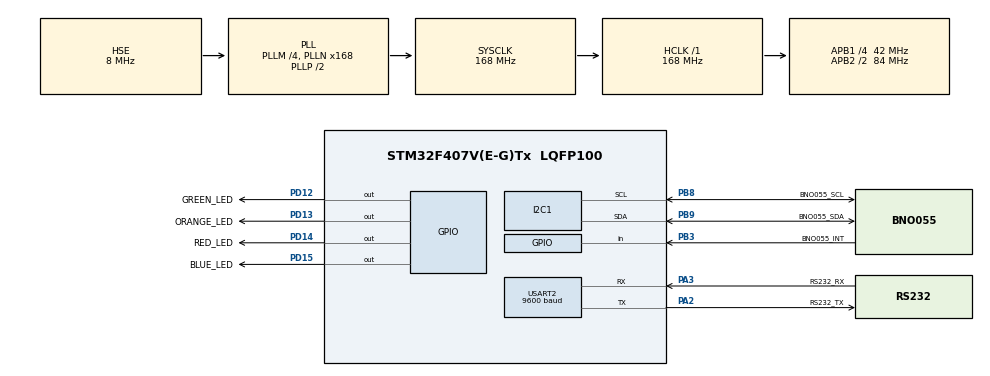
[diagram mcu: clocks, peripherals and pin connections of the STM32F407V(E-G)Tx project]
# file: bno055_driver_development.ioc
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I2C1.I2C_Mode=I2C_Fast
Mcu.Family=STM32F4
Mcu.Name=STM32F407V(E-G)Tx
Mcu.Package=LQFP100
NVIC.PriorityGroup=NVIC_PRIORITYGROUP_4
PA2.GPIO_Label=RS232_TX
PA2.Mode=Asynchronous
PA2.Signal=USART2_TX
PA3.GPIO_Label=RS232_RX
PA3.Mode=Asynchronous
PA3.Signal=USART2_RX
PB3.GPIO_Label=BNO055_INT
PB3.Signal=GPIO_Input
PB8.GPIO_Label=BNO055_SCL
PB8.Mode=I2C
PB8.Signal=I2C1_SCL
PB9.GPIO_Label=BNO055_SDA
PB9.Mode=I2C
PB9.Signal=I2C1_SDA
PD12.GPIO_Label=GREEN_LED
PD12.Signal=GPIO_Output
PD13.GPIO_Label=ORANGE_LED
PD13.Signal=GPIO_Output
PD14.GPIO_Label=RED_LED
PD14.Signal=GPIO_Output
PD15.GPIO_Label=BLUE_LED
PD15.Signal=GPIO_Output
PH0-OSC_IN.GPIO_Label=OSC_IN
PH0-OSC_IN.Mode=HSE-External-Oscillator
PH0-OSC_IN.Signal=RCC_OSC_IN
PH1-OSC_OUT.GPIO_Label=OSC_OUT
PH1-OSC_OUT.Mode=HSE-External-Oscillator
PH1-OSC_OUT.Signal=RCC_OSC_OUT
ProjectManager.HeapSize=0x200
ProjectManager.StackSize=0x400
ProjectManager.TargetToolchain=STM32CubeIDE
RCC.48MHZClocksFreq_Value=84000000
RCC.AHBFreq_Value=168000000
RCC.APB1CLKDivider=RCC_HCLK_DIV4
RCC.APB1Freq_Value=42000000
RCC.APB1TimFreq_Value=84000000
RCC.APB2CLKDivider=RCC_HCLK_DIV2
RCC.APB2Freq_Value=84000000
RCC.APB2TimFreq_Value=168000000
RCC.CortexFreq_Value=168000000
RCC.EnbaleCSS=true
RCC.HCLKFreq_Value=168000000
RCC.HSE_VALUE=8000000
RCC.HSI_VALUE=16000000
RCC.LSE_VALUE=32768
RCC.PLLM=4
RCC.PLLN=168
RCC.PLLSourceVirtual=RCC_PLLSOURCE_HSE
RCC.SYSCLKFreq_VALUE=168000000
RCC.SYSCLKSource=RCC_SYSCLKSOURCE_PLLCLK
RCC.VCOOutputFreq_Value=336000000
USART2.BaudRate=9600
USART2.VirtualMode=VM_ASYNC
board=custom

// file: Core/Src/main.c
/* USER CODE BEGIN Header */
/**
  ******************************************************************************
  * @file           : main.c
  * @brief          : Main program body
  ******************************************************************************
  * @attention
  *
  * Copyright (c) 2024 STMicroelectronics.
  * All rights reserved.
  *
  * This software is licensed under terms that can be found in the LICENSE file
  * in the root directory of this software component.
  * If no LICENSE file comes with this software, it is provided AS-IS.
  *
  ******************************************************************************
  */
/* USER CODE END Header */
#include "main.h"

I2C_HandleTypeDef hi2c1;

UART_HandleTypeDef huart2;

/* USER CODE BEGIN PV */

bno055_init_t BNO055={0};
ACC_TypeDef_T ACC={0};
GYR_TypeDef_T GYR={0};
MAG_TypeDef_T MAG={0};
EUL_TypeDef_T EUL={0};
QUA_TypeDef_T QUA={0};
LIN_TypeDef_T LIN={0};
GRV_TypeDef_T GRV={0};
BNO055_CalibStatus_TypeDef_t status={0};

/* USER CODE END PV */

void SystemClock_Config(void);
static void MX_GPIO_Init(void);
static void MX_I2C1_Init(void);
static void MX_USART2_UART_Init(void);

int main(void)
{

  /* MCU Configuration--------------------------------------------------------*/

  /* Reset of all peripherals, Initializes the Flash interface and the Systick. */
  HAL_Init();

  /* Configure the system clock */
  SystemClock_Config();

  /* Initialize all configured peripherals */
  MX_GPIO_Init();
  MX_I2C1_Init();
  MX_USART2_UART_Init();
  /* USER CODE BEGIN 2 */

  //Self-Test
  bno055_self_test();

  //Config
  BNO055.power_mode = BNO055_PWR_MODE_NORMAL;
  BNO055.operating_mode = BNO055_OPR_MODE_IMU;

  BNO055.acc_config.bandwith = BNO055_ACC_BW_1000_HZ;
  BNO055.acc_config.g_range = BNO055_ACC_16G;
  BNO055.acc_config.opr_mode = BNO055_ACC_OPR_NORMAL;

  BNO055.mag_config.data_output_rate = BNO055_MAG_DOR_20;
  BNO055.mag_config.opr_mode = BNO055_MAG_OPR_HIGH_ACCURACY;
  BNO055.mag_config.power_mode = BNO055_MAG_PWR_NORMAL;

  BNO055.gyr_config.bandwith = BNO055_GYR_BW_230;
  BNO055.gyr_config.opr_mode = BNO055_GYR_OPR_NORMAL;
  BNO055.gyr_config.range = BNO055_GYR_2000_DPS;

  BNO055.axis_map_config = BNO055_AXIS_MAP_P2;
  BNO055.axis_sign_config = BNO055_AXIS_SIGN_P2;

  BNO055.unit_config = BNO055_UNIT_ACC_M_S_2 | BNO055_UNIT_EUL_DEGREES \
		  	  	  	   | BNO055_UNIT_GYR_DPS | BNO055_UNIT_ORIENTATION_MODE_WINDOWS \
					   | BNO055_UNIT_TEMP_CELCIUS;

  bno055_config(&BNO055);

  /* USER CODE END 2 */

  /* Infinite loop */
  while (1)
  {

    /* USER CODE BEGIN 3 */

	  EUL = bno055_Get_Eul();

  }
  /* USER CODE END 3 */
}

void SystemClock_Config(void)
{
  RCC_OscInitTypeDef RCC_OscInitStruct = {0};
  RCC_ClkInitTypeDef RCC_ClkInitStruct = {0};

  /** Configure the main internal regulator output voltage
  */
  __HAL_RCC_PWR_CLK_ENABLE();
  __HAL_PWR_VOLTAGESCALING_CONFIG(PWR_REGULATOR_VOLTAGE_SCALE1);

  /** Initializes the RCC Oscillators according to the specified parameters
  * in the RCC_OscInitTypeDef structure.
  */
  RCC_OscInitStruct.OscillatorType = RCC_OSCILLATORTYPE_HSE;
  RCC_OscInitStruct.HSEState = RCC_HSE_ON;
  RCC_OscInitStruct.PLL.PLLState = RCC_PLL_ON;
  RCC_OscInitStruct.PLL.PLLSource = RCC_PLLSOURCE_HSE;
  RCC_OscInitStruct.PLL.PLLM = 4;
  RCC_OscInitStruct.PLL.PLLN = 168;
  RCC_OscInitStruct.PLL.PLLP = RCC_PLLP_DIV2;
  RCC_OscInitStruct.PLL.PLLQ = 4;
  if (HAL_RCC_OscConfig(&RCC_OscInitStruct) != HAL_OK)
  {
    Error_Handler();
  }

  /** Initializes the CPU, AHB and APB buses clocks
  */
  RCC_ClkInitStruct.ClockType = RCC_CLOCKTYPE_HCLK|RCC_CLOCKTYPE_SYSCLK
                              |RCC_CLOCKTYPE_PCLK1|RCC_CLOCKTYPE_PCLK2;
  RCC_ClkInitStruct.SYSCLKSource = RCC_SYSCLKSOURCE_PLLCLK;
  RCC_ClkInitStruct.AHBCLKDivider = RCC_SYSCLK_DIV1;
  RCC_ClkInitStruct.APB1CLKDivider = RCC_HCLK_DIV4;
  RCC_ClkInitStruct.APB2CLKDivider = RCC_HCLK_DIV2;

  if (HAL_RCC_ClockConfig(&RCC_ClkInitStruct, FLASH_LATENCY_5) != HAL_OK)
  {
    Error_Handler();
  }

  /** Enables the Clock Security System
  */
  HAL_RCC_EnableCSS();
}

static void MX_I2C1_Init(void)
{

  hi2c1.Instance = I2C1;
  hi2c1.Init.ClockSpeed = 400000;
  hi2c1.Init.DutyCycle = I2C_DUTYCYCLE_2;
  hi2c1.Init.OwnAddress1 = 0;
  hi2c1.Init.AddressingMode = I2C_ADDRESSINGMODE_7BIT;
  hi2c1.Init.DualAddressMode = I2C_DUALADDRESS_DISABLE;
  hi2c1.Init.OwnAddress2 = 0;
  hi2c1.Init.GeneralCallMode = I2C_GENERALCALL_DISABLE;
  hi2c1.Init.NoStretchMode = I2C_NOSTRETCH_DISABLE;
  if (HAL_I2C_Init(&hi2c1) != HAL_OK)
  {
    Error_Handler();
  }

}

static void MX_USART2_UART_Init(void)
{

  huart2.Instance = USART2;
  huart2.Init.BaudRate = 9600;
  huart2.Init.WordLength = UART_WORDLENGTH_8B;
  huart2.Init.StopBits = UART_STOPBITS_1;
  huart2.Init.Parity = UART_PARITY_NONE;
  huart2.Init.Mode = UART_MODE_TX_RX;
  huart2.Init.HwFlowCtl = UART_HWCONTROL_NONE;
  huart2.Init.OverSampling = UART_OVERSAMPLING_16;
  if (HAL_UART_Init(&huart2) != HAL_OK)
  {
    Error_Handler();
  }

}

static void MX_GPIO_Init(void)
{
  GPIO_InitTypeDef GPIO_InitStruct = {0};

  /* GPIO Ports Clock Enable */
  __HAL_RCC_GPIOH_CLK_ENABLE();
  __HAL_RCC_GPIOA_CLK_ENABLE();
  __HAL_RCC_GPIOD_CLK_ENABLE();
  __HAL_RCC_GPIOB_CLK_ENABLE();

  /*Configure GPIO pin Output Level */
  HAL_GPIO_WritePin(GPIOD, GREEN_LED_Pin|ORANGE_LED_Pin|RED_LED_Pin|BLUE_LED_Pin, GPIO_PIN_RESET);

  /*Configure GPIO pins : GREEN_LED_Pin ORANGE_LED_Pin RED_LED_Pin BLUE_LED_Pin */
  GPIO_InitStruct.Pin = GREEN_LED_Pin|ORANGE_LED_Pin|RED_LED_Pin|BLUE_LED_Pin;
  GPIO_InitStruct.Mode = GPIO_MODE_OUTPUT_PP;
  GPIO_InitStruct.Pull = GPIO_NOPULL;
  GPIO_InitStruct.Speed = GPIO_SPEED_FREQ_LOW;
  HAL_GPIO_Init(GPIOD, &GPIO_InitStruct);

  /*Configure GPIO pin : BNO055_INT_Pin */
  GPIO_InitStruct.Pin = BNO055_INT_Pin;
  GPIO_InitStruct.Mode = GPIO_MODE_INPUT;
  GPIO_InitStruct.Pull = GPIO_NOPULL;
  HAL_GPIO_Init(BNO055_INT_GPIO_Port, &GPIO_InitStruct);

}

void Error_Handler(void)
{
  __disable_irq();
  while (1)
  {
  }
}
